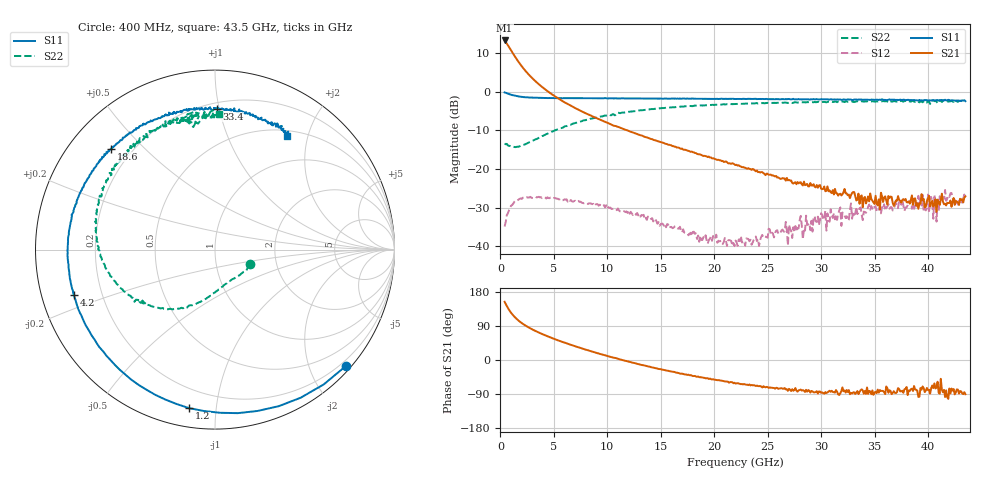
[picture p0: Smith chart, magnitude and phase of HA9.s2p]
! Quiescent point : Vgs=-5.00080E+00 Ig=-9.61234E-06 Vds=+1.00067E+02 Id=-1.49771E-04
! Pulsed point : Vgs=+1.99962E+00 Ig=+2.68961E-05 Vds=+1.53137E+01 Id=+8.18347E-01
# Hz S RI R 50
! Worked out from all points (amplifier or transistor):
!   432 points, 400 MHz to 43.5 GHz, reference 50 ohm
!   highest |S21| = 13.2 dB at 400 MHz (marker M1)
!   |S21| within 3 dB of that: start of sweep to 1.1 GHz
!   unconditionally stable (mu >= 1): 1.451 GHz to end of sweep
!   at 7.6 GHz: K = 6.40, MAG = 0.8 dB, |S12| = -28.7 dB
!   at 22 GHz: K = 69.94, MAG = -11.7 dB, |S12| = -38.5 dB
!   at 43.5 GHz: K = 52.74, MAG = -19.8 dB, |S12| = -28.0 dB
!   S11 on the Smith chart (normalised r, x): 400 MHz: 0.10, -2.62; 1.2 GHz: 0.10, -0.85; 4.2 GHz: 0.10, -0.16; 18.6 GHz: 0.12, +0.40; 33.4 GHz: 0.24, +0.98; 43.5 GHz: 0.58, +1.67
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4e8  0.7275 -0.6501  -4.097 2.038  0.00644 0.0168  0.1962 -0.0819
6e8  0.4775 -0.8251  -3.323 2.542  0.0147 0.0205  0.1741 -0.1189
8e8  0.2369 -0.899  -2.584 2.768  0.0204 0.0206  0.1466 -0.1338
1.2e9  -0.1427 -0.8837  -1.441 2.724  0.0306 0.0182  0.1099 -0.1593
1.7e9  -0.4255 -0.7539  -0.5854 2.345  0.0378 0.0136  0.0757 -0.1783
2.3e9  -0.6036 -0.5928  -0.0609 1.886  0.0413 0.00757  0.0459 -0.2024
3.1e9  -0.7203 -0.4215  0.2713 1.411  0.0421 0.000129  0.0051 -0.2336
4.2e9  -0.787 -0.2543  0.4498 0.9683  0.0418 -0.00819  -0.0477 -0.2726
5.7e9  -0.816 -0.0907  0.5095 0.5796  0.0387 -0.0137  -0.1315 -0.3106
7.6e9  -0.8191 0.058  0.4778 0.2857  0.0308 -0.02  -0.2489 -0.3296
1.04e10  -0.7854 0.2284  0.3702 0.0487  0.0218 -0.0211  -0.4092 -0.2788
1.48e10  -0.6889 0.4294  0.2073 -0.0912  0.0108 -0.0174  -0.5866 -0.1363
1.86e10  -0.5805 0.5625  0.1086 -0.1098  0.00633 -0.00951  -0.6581 0.0452
2.2e10  -0.4566 0.658  0.0526 -0.099  0.0101 -0.00626  -0.6585 0.2086
2.92e10  -0.1793 0.7738  0.00774 -0.0604  0.0155 -0.000436  -0.5304 0.5003
3.34e10  0.0084 0.7851  0.00562 -0.0397  0.024 -0.01  -0.4031 0.633
3.64e10  0.1354 0.7812  0.00744 -0.0412  0.028 -0.0122  -0.2758 0.7161
3.91e10  0.2483 0.7289  -0.0039 -0.0302  0.0368 -0.0258  -0.1744 0.7162
4.02e10  0.2929 0.7111  0.000637 -0.0326  0.0323 -0.0287  -0.1206 0.6831
4.06e10  0.3101 0.707  0.0162 -0.0303  0.038 -0.027  -0.1053 0.7436
4.14e10  0.3391 0.6851  0.00324 -0.0376  0.0302 -0.0302  -0.0609 0.7586
4.35e10  0.4035 0.6336  -0.000217 -0.0443  0.0286 -0.0275  0.0195 0.757
